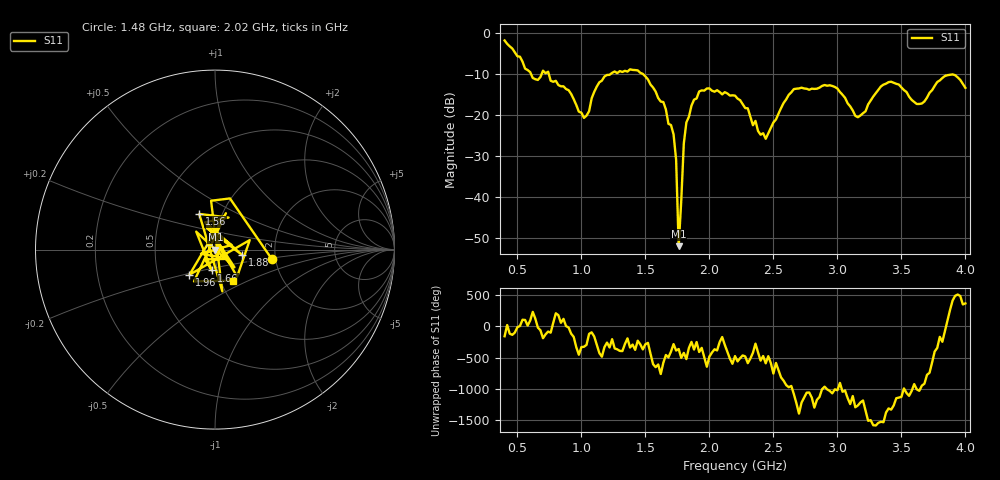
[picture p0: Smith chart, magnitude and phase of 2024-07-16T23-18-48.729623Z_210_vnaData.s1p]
!Created with skrf (http://scikit-rf.org).
# Hz S RI R 50.0
!freq ReS11 ImS11
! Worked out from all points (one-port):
!   181 points, 400 MHz to 4 GHz, reference 50 ohm
!   lowest |S11| = -52.0 dB at 1.76 GHz (marker M1), VSWR 1.01, Z = 50.3 - j0.0129 ohm
!   |S11| at or under -10 dB: 607 MHz to 688.8 MHz (81.78 MHz wide, 12.6 % of centre); 745.5 MHz to 1.226 GHz (480.8 MHz wide, 48.8 % of centre); 1.482 GHz to end of sweep
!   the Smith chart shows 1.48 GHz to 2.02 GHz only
!   S11 on the Smith chart (normalised r, x): 1.48 GHz: 1.90, -0.21; 1.56 GHz: 0.78, +0.33; 1.66 GHz: 0.94, -0.22; 1.88 GHz: 1.35, -0.09; 1.96 GHz: 0.73, -0.21; 2.02 GHz: 1.14, -0.41
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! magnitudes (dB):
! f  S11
! 400 MHz  -1.8
! 620 MHz  -10.9
! 740 MHz  -9.4
! 860 MHz  -13.0
! 1.02 GHz  -20.7
! 1.14 GHz  -12.0
! 1.3 GHz  -9.2
! 1.48 GHz  -9.9
! 1.56 GHz  -13.3
! 1.66 GHz  -18.6
! 1.72 GHz  -24.7
! 1.74 GHz  -30.9
! 1.76 GHz  -52.0
! 1.8 GHz  -26.9
! 1.88 GHz  -16.2
! 1.96 GHz  -14.0
! 2.02 GHz  -14.0
! 2.2 GHz  -15.2
! 2.44 GHz  -25.8
! 2.66 GHz  -13.6
! 2.96 GHz  -12.9
! 3.1 GHz  -17.8
! 3.16 GHz  -20.5
! 3.4 GHz  -11.9
! 3.56 GHz  -15.5
! 3.66 GHz  -17.1
! 3.88 GHz  -10.1
! 4 GHz  -13.3
